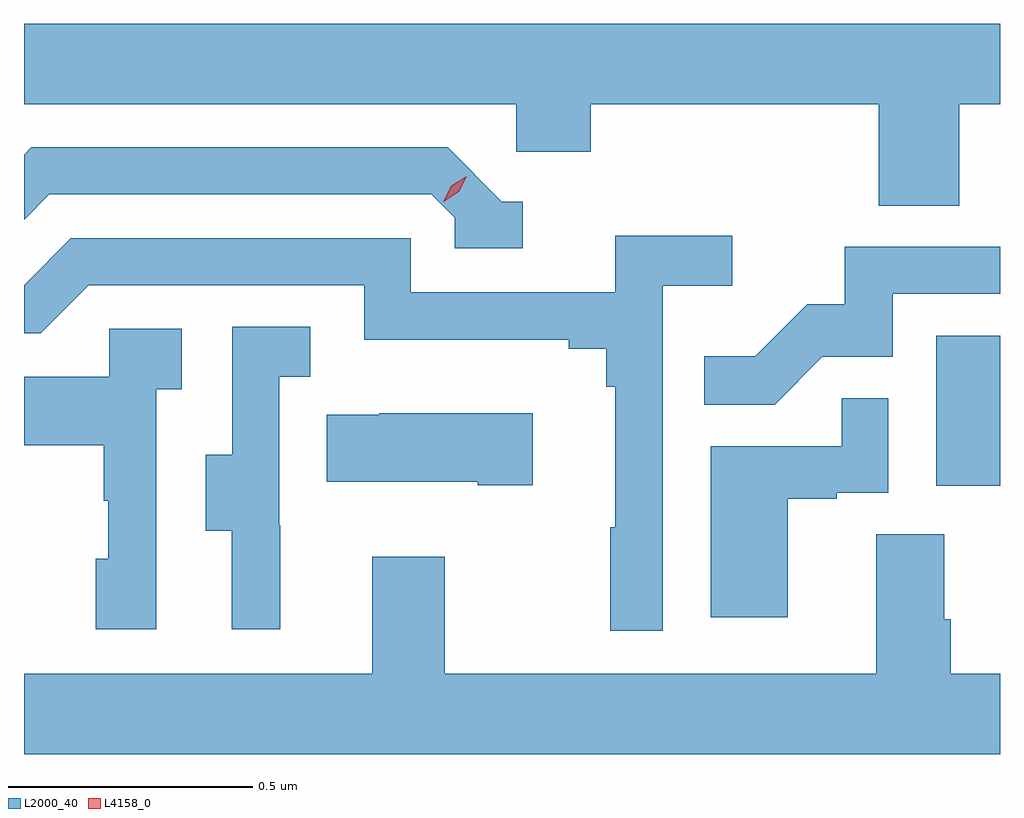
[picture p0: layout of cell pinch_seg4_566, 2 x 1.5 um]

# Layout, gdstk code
import gdstk
lib = gdstk.Library(unit=1e-6, precision=1e-09)
def R(c, l, rs):  # rectangles x0, y0, x1, y1
    for r in rs: c.add(gdstk.rectangle(r[:2], r[2:], *l))
def P(c, l, *ps):  # polygons
    for p in ps: c.add(gdstk.Polygon(p, *l))
L2000_40 = (2000, 40)
L4158_0 = (4158, 0)

pinch_seg4_566 = lib.new_cell('pinch_seg4_566')
R(pinch_seg4_566, L2000_40, [(1107.974,780.054,1108.105,780.361)])
P(pinch_seg4_566, L2000_40, [(1108.022,780.836),(1108.105,780.836),(1108.105,781),(1106.105,781),(1106.105,780.836),(1107.114,780.836),(1107.114,780.738),(1107.266,780.738),(1107.266,780.836),(1107.857,780.836),(1107.857,780.628),(1108.022,780.628)],
  [(1107.127,780.636),(1107.084,780.636),(1106.973,780.747),(1106.12,780.747),(1106.105,780.732),(1106.105,780.599),(1106.157,780.651),(1106.94,780.651),(1106.988,780.603),(1106.988,780.54),(1107.127,780.54)],
  [(1107.414,780.464),(1107.556,780.464),(1107.556,780.566),(1107.317,780.566),(1107.317,780.45),(1106.898,780.45),(1106.898,780.561),(1106.201,780.561),(1106.105,780.465),(1106.105,780.366),(1106.139,780.366),(1106.238,780.465),(1106.802,780.465),(1106.802,780.353),(1107.221,780.353),(1107.221,780.334),(1107.298,780.334),(1107.298,780.257),(1107.317,780.257),(1107.317,779.969),(1107.306,779.969),(1107.306,779.757),(1107.414,779.757)],
  [(1107.741,780.318),(1107.885,780.318),(1107.885,780.447),(1108.105,780.447),(1108.105,780.543),(1107.787,780.543),(1107.787,780.426),(1107.71,780.426),(1107.603,780.319),(1107.499,780.319),(1107.499,780.22),(1107.643,780.22)],
  [(1106.63,779.973),(1106.628,779.973),(1106.628,780.277),(1106.692,780.277),(1106.692,780.38),(1106.532,780.38),(1106.532,780.117),(1106.477,780.117),(1106.477,779.962),(1106.531,779.962),(1106.531,779.76),(1106.63,779.76)],
  [(1106.376,780.251),(1106.428,780.251),(1106.428,780.375),(1106.28,780.375),(1106.28,780.277),(1106.105,780.277),(1106.105,780.137),(1106.268,780.137),(1106.268,780.023),(1106.278,780.023),(1106.278,779.904),(1106.252,779.904),(1106.252,779.76),(1106.376,779.76)],
  [(1107.67,780.027),(1107.77,780.027),(1107.77,780.039),(1107.876,780.039),(1107.876,780.233),(1107.781,780.233),(1107.781,780.135),(1107.512,780.135),(1107.512,779.784),(1107.67,779.784)],
  [(1107.148,780.202),(1106.833,780.202),(1106.833,780.199),(1106.725,780.199),(1106.725,780.062),(1107.035,780.062),(1107.035,780.055),(1107.148,780.055)],
  [(1108.105,779.668),(1108.004,779.668),(1108.004,779.78),(1107.991,779.78),(1107.991,779.954),(1107.851,779.954),(1107.851,779.668),(1106.967,779.668),(1106.967,779.908),(1106.819,779.908),(1106.819,779.668),(1106.105,779.668),(1106.105,779.504),(1108.105,779.504)])
P(pinch_seg4_566, L4158_0, [(1106.965,780.636),(1106.965,780.637),(1106.981,780.669),(1107.012,780.688),(1107.012,780.688),(1107.012,780.688),(1106.996,780.656),(1106.965,780.636)])

lib.write_gds('pinch_seg4_566.gds')
